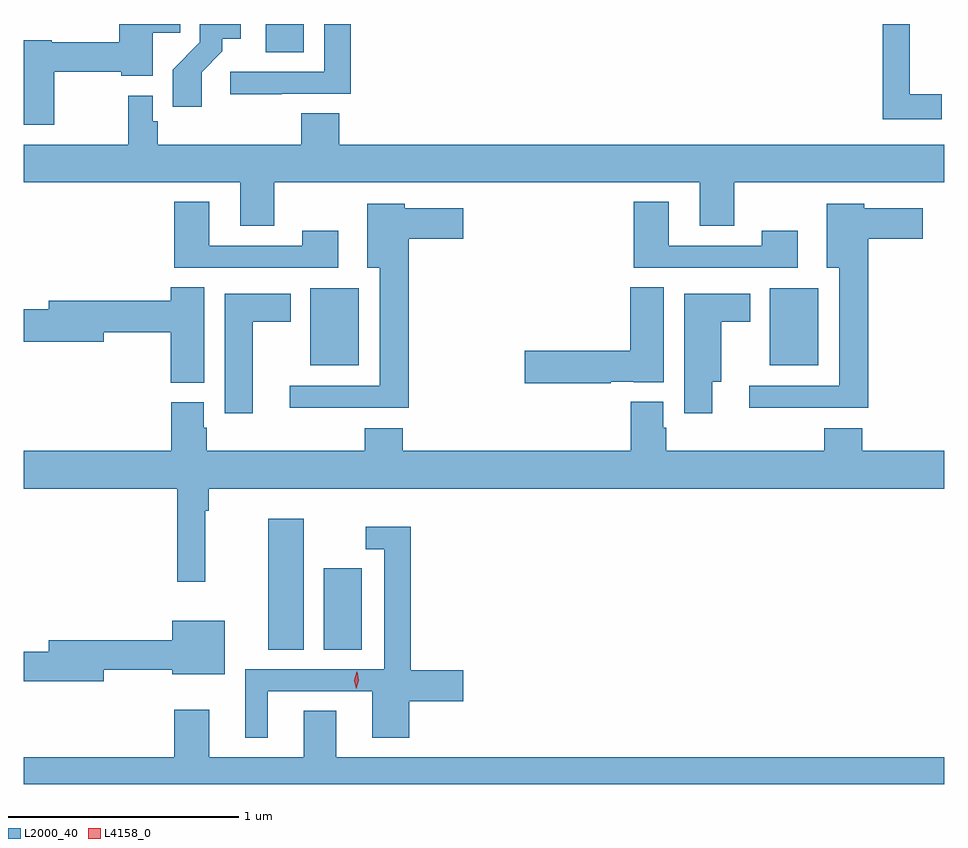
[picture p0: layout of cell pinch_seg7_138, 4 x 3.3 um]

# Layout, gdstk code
import gdstk
lib = gdstk.Library(unit=1e-6, precision=1e-09)
def R(c, l, rs):  # rectangles x0, y0, x1, y1
    for r in rs: c.add(gdstk.rectangle(r[:2], r[2:], *l))
def P(c, l, *ps):  # polygons
    for p in ps: c.add(gdstk.Polygon(p, *l))
L2000_40 = (2000, 40)
L4158_0 = (4158, 0)

pinch_seg7_138 = lib.new_cell('pinch_seg7_138')
R(pinch_seg7_138, L2000_40, [(1068.425,998.584,1068.58,999.154), (1068.668,998.584,1068.832,998.938), (1068.608,999.821,1068.82,1000.156), (1070.606,999.821,1070.818,1000.156), (1068.416,1001.182,1068.58,1001.304)])
P(pinch_seg7_138, L2000_40, [(1068.485,1001.001),(1068.785,1001.001),(1068.785,1001.304),(1068.669,1001.304),(1068.669,1001.097),(1068.261,1001.097),(1068.261,1000.999),(1068.485,1000.999)],
  [(1068.136,1001.095),(1068.226,1001.185),(1068.226,1001.24),(1068.307,1001.24),(1068.307,1001.304),(1068.129,1001.304),(1068.129,1001.225),(1068.01,1001.106),(1068.01,1000.944),(1068.136,1000.944)],
  [(1071.355,1000.999),(1071.215,1000.999),(1071.215,1001.304),(1071.097,1001.304),(1071.097,1000.89),(1071.355,1000.89)],
  [(1067.496,1001.097),(1067.786,1001.097),(1067.786,1001.078),(1067.923,1001.078),(1067.923,1001.266),(1068.044,1001.266),(1068.044,1001.304),(1067.779,1001.304),(1067.779,1001.225),(1067.484,1001.225),(1067.484,1001.233),(1067.364,1001.233),(1067.364,1000.866),(1067.496,1000.866)],
  [(1068.305,1000.426),(1068.453,1000.426),(1068.453,1000.616),(1070.303,1000.616),(1070.303,1000.426),(1070.451,1000.426),(1070.451,1000.616),(1071.364,1000.616),(1071.364,1000.78),(1068.734,1000.78),(1068.734,1000.916),(1068.569,1000.916),(1068.569,1000.78),(1067.945,1000.78),(1067.945,1000.881),(1067.925,1000.881),(1067.925,1000.993),(1067.817,1000.993),(1067.817,1000.78),(1067.364,1000.78),(1067.364,1000.616),(1068.305,1000.616)],
  [(1068.73,1000.405),(1068.574,1000.405),(1068.574,1000.341),(1068.169,1000.341),(1068.169,1000.531),(1068.017,1000.531),(1068.017,1000.245),(1068.73,1000.245)],
  [(1070.728,1000.405),(1070.572,1000.405),(1070.572,1000.341),(1070.167,1000.341),(1070.167,1000.531),(1070.015,1000.531),(1070.015,1000.245),(1070.728,1000.245)],
  [(1071.035,1000.37),(1071.271,1000.37),(1071.271,1000.504),(1071.018,1000.504),(1071.018,1000.522),(1070.855,1000.522),(1070.855,1000.244),(1070.909,1000.244),(1070.909,999.732),(1070.517,999.732),(1070.517,999.635),(1071.035,999.635)],
  [(1069.037,1000.37),(1069.273,1000.37),(1069.273,1000.504),(1069.02,1000.504),(1069.02,1000.522),(1068.857,1000.522),(1068.857,1000.244),(1068.911,1000.244),(1068.911,999.732),(1068.519,999.732),(1068.519,999.635),(1069.037,999.635)],
  [(1068.148,1000.16),(1068.002,1000.16),(1068.002,1000.1),(1067.471,1000.1),(1067.471,1000.064),(1067.364,1000.064),(1067.364,999.922),(1067.71,999.922),(1067.71,999.964),(1068.002,999.964),(1068.002,999.745),(1068.148,999.745)],
  [(1069.916,999.749),(1070.016,999.749),(1070.016,999.746),(1070.146,999.746),(1070.146,1000.16),(1070,1000.16),(1070,999.884),(1069.542,999.884),(1069.542,999.742),(1069.916,999.742)],
  [(1070.356,999.749),(1070.395,999.749),(1070.395,1000.01),(1070.521,1000.01),(1070.521,1000.132),(1070.234,1000.132),(1070.234,999.612),(1070.356,999.612)],
  [(1068.358,1000.01),(1068.523,1000.01),(1068.523,1000.132),(1068.236,1000.132),(1068.236,999.612),(1068.358,999.612)],
  [(1068.152,999.188),(1068.167,999.188),(1068.167,999.284),(1071.364,999.284),(1071.364,999.448),(1071.008,999.448),(1071.008,999.547),(1070.843,999.547),(1070.843,999.448),(1070.156,999.448),(1070.156,999.549),(1070.143,999.549),(1070.143,999.661),(1070.003,999.661),(1070.003,999.448),(1069.01,999.448),(1069.01,999.547),(1068.845,999.547),(1068.845,999.448),(1068.158,999.448),(1068.158,999.549),(1068.145,999.549),(1068.145,999.66),(1068.005,999.66),(1068.005,999.448),(1067.364,999.448),(1067.364,999.284),(1068.031,999.284),(1068.031,998.88),(1068.152,998.88)],
  [(1068.424,998.403),(1068.878,998.403),(1068.878,998.202),(1069.04,998.202),(1069.04,998.36),(1069.273,998.36),(1069.273,998.495),(1069.046,998.495),(1069.046,999.118),(1068.849,999.118),(1068.849,999.021),(1068.93,999.021),(1068.93,998.499),(1068.326,998.499),(1068.326,998.202),(1068.424,998.202)],
  [(1067.71,998.496),(1068.008,998.496),(1068.008,998.477),(1068.238,998.477),(1068.238,998.71),(1068.008,998.71),(1068.008,998.624),(1067.471,998.624),(1067.471,998.575),(1067.364,998.575),(1067.364,998.446),(1067.71,998.446)],
  [(1071.364,998.116),(1068.721,998.116),(1068.721,998.318),(1068.581,998.318),(1068.581,998.116),(1068.169,998.116),(1068.169,998.323),(1068.017,998.323),(1068.017,998.116),(1067.364,998.116),(1067.364,998),(1071.364,998)])
P(pinch_seg7_138, L4158_0, [(1068.808,998.415),(1068.808,998.415),(1068.8,998.451),(1068.811,998.487),(1068.811,998.487),(1068.812,998.487),(1068.82,998.45),(1068.809,998.415)])

lib.write_gds('pinch_seg7_138.gds')
